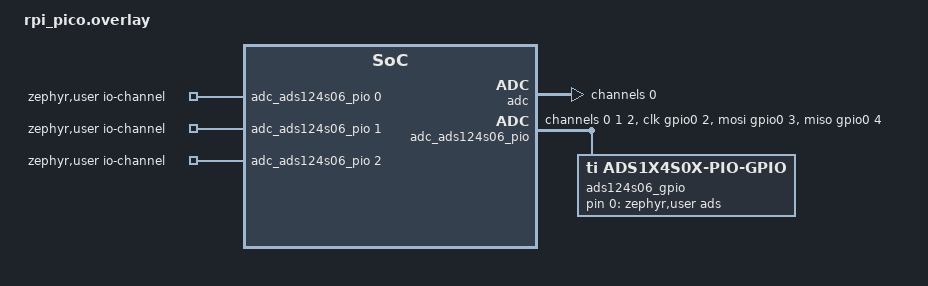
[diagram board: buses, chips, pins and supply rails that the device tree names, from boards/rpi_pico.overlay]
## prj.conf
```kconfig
CONFIG_ADC=y
CONFIG_DMA=y

CONFIG_LOG=y
#CONFIG_LOG_MODE_IMMEDIATE=y
#CONFIG_ADC_LOG_LEVEL_DBG=y

CONFIG_PRINTK=y
CONFIG_SHELL=y
CONFIG_SHELL_MINIMAL=y
CONFIG_SHELL_VT100_COLORS=y
CONFIG_SHELL_HELP=y
CONFIG_SHELL_HISTORY=y
CONFIG_SHELL_CMDS=y
CONFIG_SHELL_STACK_SIZE=1024
CONFIG_SHELL_BACKEND_SERIAL=y

CONFIG_NEWLIB_LIBC=y
CONFIG_NEWLIB_LIBC_FLOAT_PRINTF=y

CONFIG_FPU=y
CONFIG_CBPRINTF_FP_SUPPORT=y
CONFIG_CBPRINTF_FP_A_SUPPORT=y
```

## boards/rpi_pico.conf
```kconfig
CONFIG_SPI_INIT_PRIORITY=70
CONFIG_ADC_INIT_PRIORITY=80
CONFIG_ADC_ADS1X4S0X_PIO_GPIO=y
```

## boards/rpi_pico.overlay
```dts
 #include <zephyr/dt-bindings/dma/rpi-pico-dma-rp2040.h>
 #include <zephyr/dt-bindings/adc/ads1x4s0x_adc.h>

/ {
	zephyr,user {
		io-channels = <&adc_ads124s06_pio 0>, <&adc_ads124s06_pio 1>, <&adc_ads124s06_pio 2>;
		ads_gpios = <&ads124s06_gpio 0 GPIO_ACTIVE_HIGH>;
	};
};

&adc {
	#address-cells = <1>;
	#size-cells = <0>;

	channel@0 {
		reg = <0>;
		zephyr,gain = "ADC_GAIN_1";
		zephyr,reference = "ADC_REF_INTERNAL";
		zephyr,acquisition-time = <ADC_ACQ_TIME_DEFAULT>;
		zephyr,resolution = <12>;
	};
};

&pinctrl {
	pio0_spi0_default: pio0_spi0_default {
		group1 {
			pinmux = <PIO0_P2>, <PIO0_P3>;  /* Output pins (SPI) */
		};
		group2 {
			pinmux = <PIO0_P4>; /* Input pins (SPI) */
			input-enable;
		};
	};
};

&dma {
	status = "okay";
};

&pio0 {
	status = "okay";

	adc_ads124s06_pio: ads124s06_pio {
		pinctrl-0 = <&pio0_spi0_default>;
		pinctrl-names = "default";

		compatible = "ti,ads124s06-pio";
		status = "okay";

		/* Assign 5 DMA channels. The first integer field in the cell is the channel id.
		 * The rest two integer fields doesn't matter.
		 */
		dmas = <&dma 0 0 0>, <&dma 1 0 0>, <&dma 2 0 0>, <&dma 3 0 0>, <&dma 4 0 0>;
		dma-names = "txc1", "txc2", "tx", "rx1", "rx2";

		miso-gpios = <&gpio0 4 0>;
		cs-gpios = <&gpio0 5 GPIO_ACTIVE_LOW>;
		clk-gpios = <&gpio0 2 GPIO_ACTIVE_HIGH>;
		mosi-gpios = <&gpio0 3 GPIO_ACTIVE_HIGH>;
		clocks = <&clocks RPI_PICO_CLKID_CLK_SYS>;
		spi-frequency = <1000000>;

		drdy-gpios = <&gpio0 6 GPIO_ACTIVE_LOW>;

		#io-channel-cells = <1>;
		#address-cells = <1>;
		#size-cells = <0>;

		ads124s06_gpio: ads124s06_gpio {
			compatible = "ti,ads1x4s0x-pio-gpio";
			gpio-controller;
			ngpios = <4>;
			#gpio-cells = <2>;
		};

		channel@0 {
			reg = <0>;
			zephyr,gain = "ADC_GAIN_1";
			zephyr,reference = "ADC_REF_INTERNAL";
			zephyr,acquisition-time = <ADC_ACQ_TIME(ADC_ACQ_TIME_TICKS, ADS1X4S0X_CONFIG_DR_50)>;
			zephyr,resolution = <24>;
			zephyr,input-positive = <0>;
			zephyr,input-negative = <1>;
		};

		channel@1 {
			reg = <1>;
			zephyr,gain = "ADC_GAIN_1";
			zephyr,reference = "ADC_REF_INTERNAL";
			zephyr,acquisition-time = <ADC_ACQ_TIME(ADC_ACQ_TIME_TICKS, ADS1X4S0X_CONFIG_DR_50)>;
			zephyr,resolution = <24>;
			zephyr,input-positive = <2>;
			zephyr,input-negative = <3>;
		};

		channel@2 {
			reg = <2>;
			zephyr,gain = "ADC_GAIN_1";
			zephyr,reference = "ADC_REF_INTERNAL";
			zephyr,acquisition-time = <ADC_ACQ_TIME(ADC_ACQ_TIME_TICKS, ADS1X4S0X_CONFIG_DR_50)>;
			zephyr,resolution = <24>;
			zephyr,input-positive = <4>;
			zephyr,input-negative = <5>;
		};
	};
};
```

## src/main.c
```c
#include <stdlib.h>
#include <zephyr/device.h>
#include <zephyr/devicetree.h>
#include <zephyr/drivers/adc.h>
#include <zephyr/kernel.h>
#include <zephyr/sys/printk.h>
#include <zephyr/sys/util.h>
#include <zephyr/sys/byteorder.h>
#include <zephyr/drivers/gpio.h>
#include <zephyr/shell/shell.h>

#include <zephyr/drivers/adc/ads1x4s0x_pio.h>

#include <zephyr/logging/log.h>
LOG_MODULE_REGISTER(adc_dt_sample, LOG_LEVEL_DBG);

#if !DT_NODE_EXISTS(DT_PATH(zephyr_user)) || \
    !DT_NODE_HAS_PROP(DT_PATH(zephyr_user), io_channels)
#error "No suitable devicetree overlay specified"
#endif

#define LED0_NODE DT_ALIAS(led0)
static const struct gpio_dt_spec led = GPIO_DT_SPEC_GET(LED0_NODE, gpios);

static const struct gpio_dt_spec ads_gpio0 = GPIO_DT_SPEC_GET(DT_PATH(zephyr_user), ads_gpios);

#define DT_SPEC_AND_COMMA(node_id, prop, idx) \
    ADC_DT_SPEC_GET_BY_IDX(node_id, idx),

/* Data of ADC io-channels specified in devicetree. */
const struct adc_dt_spec adc_channels[] = {
    DT_FOREACH_PROP_ELEM(DT_PATH(zephyr_user), io_channels,
            DT_SPEC_AND_COMMA)
};

struct adc_channel_cfg channel_cfgs[ARRAY_SIZE(adc_channels)];

#define REPEAT_CNT 5

uint32_t sample_buf1[ARRAY_SIZE(adc_channels)*REPEAT_CNT];
uint32_t sample_buf2[ARRAY_SIZE(adc_channels)*REPEAT_CNT];

struct interleaving_channel_buf {
    uint32_t channel_sample[ARRAY_SIZE(adc_channels)];
};

const struct device *dev = adc_channels[0].dev;

struct ads1x4s0x_pio_bulk_read_config br_cfg = {
    .chan_cfgs = channel_cfgs,
    .chan_count = ARRAY_SIZE(adc_channels),
    .sample_count = 1,
    .repeat_count = REPEAT_CNT,
    .sample_buf_1 = (uint8_t *)sample_buf1,
    .sample_buf_2 = (uint8_t *)sample_buf2,
};

#define THREAD_PRIORITY 8

static struct k_thread sample_buffer_handler_thread;

K_THREAD_STACK_DEFINE(sample_buffer_handler_stack, 512);

static void print_buffer(const struct interleaving_channel_buf *buf, size_t len, bool verbose) {
    int32_t sample;
    uint8_t crc;
    float my_fval_mv;

    for (size_t j = 0; j < len; ++j) {
        if (!verbose) {
            LOG_INF("#%2d", j);
        }

        for (int i = 0; i < ARRAY_SIZE(adc_channels); ++i) {
            crc = (buf[j].channel_sample[i] >> adc_channels[i].resolution) & 0xFF;
            sample = ads1x4s0x_pio_sample_to_int(dev, buf[j].channel_sample[i]);

            if (verbose) {
                my_fval_mv = 2500.0f * sample / (1 << 23);
                LOG_INF("[%2d] %d: Read Raw 0x%08x (crc %02x) = 0x%06x = %d = %.3f mV",
                        j, i, buf[j].channel_sample[i], crc, sample, sample, my_fval_mv);
            } else {
                LOG_INF("%d", sample);
            }
        }
    }
}

void sample_ready_thread_handler(void *ptr1, void *ptr2, void *ptr3) {
    uint8_t buf_ind;
    uint32_t *buf;

    while (ads1x4s0x_pio_bulk_read_get_samples_blocking(dev, &buf_ind)) {
        LOG_INF("DMA returned, buffer %d is ready", buf_ind);
        buf = buf_ind == 1 ? sample_buf1 : sample_buf2;
        gpio_pin_set_dt(&led, buf_ind % 2);
        print_buffer((struct interleaving_channel_buf *)buf, REPEAT_CNT, true);
    }
}

int main(void)
{
    if (!gpio_is_ready_dt(&led)) {
        return 0;
    }

    if (!gpio_is_ready_dt(&ads_gpio0)) {
        return 0;
    }

    if (gpio_pin_configure_dt(&led, GPIO_OUTPUT_ACTIVE) < 0) {
        return 0;
    }

    if (gpio_pin_configure_dt(&ads_gpio0, GPIO_OUTPUT_ACTIVE) < 0) {
        return 0;
    }

    gpio_pin_set_dt(&led, 1);
    gpio_pin_set_dt(&ads_gpio0, 1);

    for (size_t i = 0U; i < ARRAY_SIZE(adc_channels); i++) {
        if (!adc_is_ready_dt(&adc_channels[i])) {
            LOG_ERR("ADC controller device %s not ready\n", adc_channels[i].dev->name);
            return 0;
        }
    }

    for (uint8_t i = 0; i < ARRAY_SIZE(adc_channels); i++) {
        memcpy(&channel_cfgs[i], &adc_channels[i].channel_cfg, sizeof(struct adc_channel_cfg));
    }

    k_thread_create(
            &sample_buffer_handler_thread,
            sample_buffer_handler_stack,
            K_THREAD_STACK_SIZEOF(sample_buffer_handler_stack),
            sample_ready_thread_handler,
            0, 0, 0,
            THREAD_PRIORITY,
            0,
            K_NO_WAIT);

    return 0;
}

static int cmd_acq_start(const struct shell *sh, size_t argc,
			      char **argv)
{
	ARG_UNUSED(argv);

    ads1x4s0x_pio_bulk_read_setup(dev, &br_cfg);
    ads1x4s0x_pio_bulk_read_start(dev);

	return 0;
}


static int cmd_acq_stop(const struct shell *sh, size_t argc,
			     char **argv)
{
	ARG_UNUSED(argc);
	ARG_UNUSED(argv);

    ads1x4s0x_pio_bulk_read_stop(dev);

    LOG_INF("Acquisition stopped.");

	return 0;
}

static int cmd_acq_datarate(const struct shell *sh, size_t argc,
			      char **argv)
{
    unsigned long datarate;
    char* end_ptr;

    datarate = strtoul(argv[1], &end_ptr, 0);
    if (*end_ptr != '\0' || datarate > 15) {
        LOG_ERR("Unrecognized argument.");

        return -1;
    }

    for (uint8_t i = 0; i < ARRAY_SIZE(adc_channels); i++) {
        channel_cfgs[i].acquisition_time = ADC_ACQ_TIME(ADC_ACQ_TIME_TICKS, datarate);
    }

    LOG_INF("Data rate set to %lu.", datarate);

	return 0;
}

SHELL_STATIC_SUBCMD_SET_CREATE(sub_acq_cmd,
	SHELL_CMD_ARG(start, NULL, "Start acquisition", cmd_acq_start, 1, 0),
	SHELL_CMD_ARG(stop, NULL, "Stop acquisition.", cmd_acq_stop, 1, 0),
	SHELL_CMD_ARG(datarate, NULL, "Set acquisition data rate from 0 to 15.", cmd_acq_datarate, 2, 0),
	SHELL_SUBCMD_SET_END /* Array terminated. */
);

SHELL_CMD_REGISTER(acq, &sub_acq_cmd, "Acquisition control", NULL);
```
